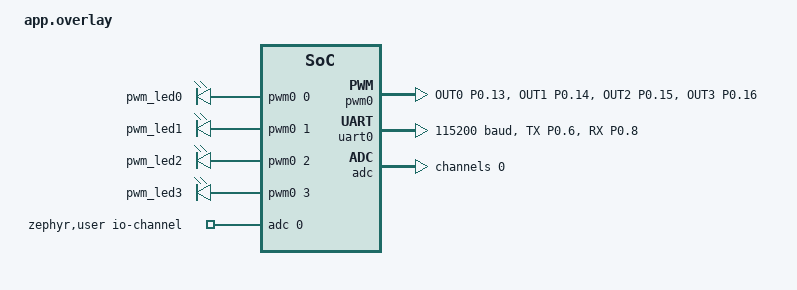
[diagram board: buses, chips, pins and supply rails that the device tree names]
/ {
    aliases {
        button0 = &button0;
        button1 = &button1;
        button2 = &button2;
        button3 = &button3;

        pwm-led0 = &pwm_led0;
        pwm-led1 = &pwm_led1;
        pwm-led2 = &pwm_led2;
        pwm-led3 = &pwm_led3;
    };

    pwmleds {
        compatible = "pwm-leds";

		pwm_led0: pwm_led_0 {
			pwms = <&pwm0 0 PWM_MSEC(20) PWM_POLARITY_INVERTED>;
		};

        pwm_led1: pwm_led_1 {
			pwms = <&pwm0 1 PWM_MSEC(20) PWM_POLARITY_INVERTED>;
		};

        pwm_led2: pwm_led_2 {
			pwms = <&pwm0 2 PWM_MSEC(20) PWM_POLARITY_INVERTED>;
		};

        pwm_led3: pwm_led_3 {
			pwms = <&pwm0 3 PWM_MSEC(20) PWM_POLARITY_INVERTED>;
		};
    };

    /* * Zephyr user node acts as a bridge to expose specific hardware instances
     * directly to the application layer source code without hardcoding peripheral addresses.
     */
    zephyr,user {
        /* Bind channel index 0 of the ADC controller to the application layer */
        io-channels = <&adc 0>;
    };
};

&pwm0 {
    status = "okay";
    pinctrl-0 = <&pwm0_default_alt>;
    pinctrl-1 = <&pwm0_sleep>;
    pinctrl-names = "default", "sleep";
};

&uart0 {
    status = "okay";
    current-speed = <115200>;
    pinctrl-0 = <&uart0_default_alt>;
    pinctrl-1 = <&uart0_sleep_alt>;
    pinctrl-names = "default", "sleep";
};

&pinctrl {
	pwm0_default_alt: pwm0_default_alt {
		group1 {
            psels = <NRF_PSEL(PWM_OUT0, 0, 13)>,
                    <NRF_PSEL(PWM_OUT1, 0, 14)>,
                    <NRF_PSEL(PWM_OUT2, 0, 15)>,
                    <NRF_PSEL(PWM_OUT3, 0, 16)>;

			nordic,drive-mode = <3>;
		};
	};

    uart0_default_alt: uart0_default_alt {
        group1 {
            psels = <NRF_PSEL(UART_TX, 0, 6)>,
                    <NRF_PSEL(UART_RX, 0, 8)>;
        };
    };

    uart0_sleep_alt: uart0_sleep_alt {
        group1 {
            psels = <NRF_PSEL(UART_TX, 0, 6)>,
                    <NRF_PSEL(UART_RX, 0, 8)>;
            low-power-enable;
        };
    };
};

/* Configure and enable the SoC internal SAADC peripheral block */
&adc {
    status = "okay";          /* Enable power and clock for the SAADC subsystem */
    #address-cells = <1>;     /* Sub-nodes (channels) use 1 cell for addressing */
    #size-cells = <0>;        /* Sub-nodes do not require a size property */

    /* Detail configuration for SAADC Channel 0 */
    channel@0 {
        reg = <0>;            /* Assign to hardware channel register index 0 */

        /* * Set input attenuation to 1/6.
         * Since the internal reference is 0.6V, this scales down the measurable input
         * range up to 3.6V (0.6V * 6 = 3.6V), preventing saturation from a ~3.0V CR2032 cell.
         */
        zephyr,gain = "ADC_GAIN_1_6";

        /* Use the internal high-precision 0.6V bandgap reference voltage source */
        zephyr,reference = "ADC_REF_INTERNAL";

        /* Use the default acquisition time for the S&H (Sample and Hold) capacitor to charge */
        zephyr,acquisition-time = <ADC_ACQ_TIME_DEFAULT>;

        /* Map the positive analog input to the internal VDD power line (No physical pin required) */
        zephyr,input-positive = <NRF_SAADC_VDD>;

        /* * Set digital quantization resolution to 12-bit (Produces raw counts from 0 to 4095).
         * Provides ultra-fine precision of approximately 0.87mV per LSB (3600mV / 4096).
         */
        zephyr,resolution = <12>;
    };
};

/* If Battery voltage > 3.6V (e.g., Li-ion 4.2V):
 * You cannot measure it with ADC_GAIN_1_6 alone because the maximum measurable voltage is $3.6\text{V}$.
 * You must implement an external hardware resistor voltage divider (e.g., $1/2$ scaling) on your custom board,
   and then multiply the conversion result by 2 in your C code.
   */

/* Why NRF_SAADC_AIN1?
 * It maps directly to P0.3 on nRF52840.
 * If you change your battery monitoring pin to another GPIO in a future custom hardware spin,
   look up the nRF52840 Product Specification, find the corresponding AINx number, and swap this line (e.g., NRF_SAADC_AIN0 for P0.2).
 */
